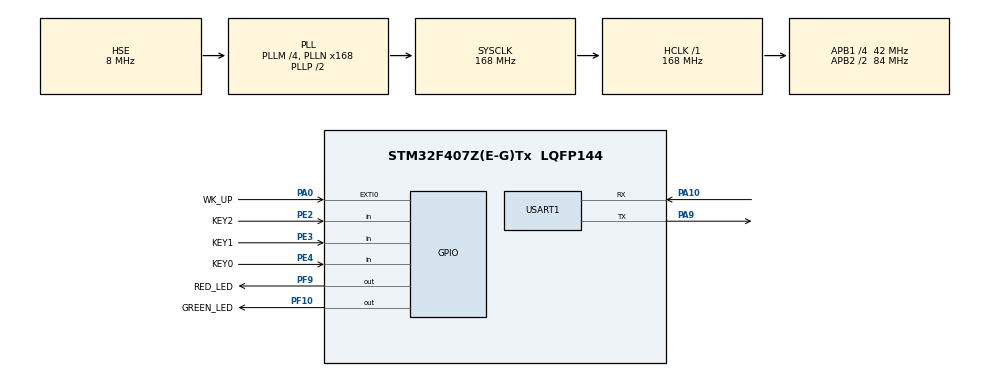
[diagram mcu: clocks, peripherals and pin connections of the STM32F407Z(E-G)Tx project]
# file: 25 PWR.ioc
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Mcu.Family=STM32F4
Mcu.Name=STM32F407Z(E-G)Tx
Mcu.Package=LQFP144
NVIC.EXTI0_IRQn=true\:1\:0\:true\:false\:true\:true\:true\:true
NVIC.PriorityGroup=NVIC_PRIORITYGROUP_2
NVIC.TIM6_DAC_IRQn=true\:1\:1\:true\:false\:true\:true\:true\:true
PA0-WKUP.GPIO_Label=WK_UP
PA0-WKUP.GPIO_ModeDefaultEXTI=GPIO_MODE_IT_FALLING
PA0-WKUP.GPIO_PuPd=GPIO_PULLDOWN
PA0-WKUP.Signal=GPXTI0
PA10.Mode=Asynchronous
PA10.Signal=USART1_RX
PA13.Mode=Serial_Wire
PA13.Signal=SYS_JTMS-SWDIO
PA14.Mode=Serial_Wire
PA14.Signal=SYS_JTCK-SWCLK
PA9.Mode=Asynchronous
PA9.Signal=USART1_TX
PC14-OSC32_IN.Mode=LSE-External-Oscillator
PC14-OSC32_IN.Signal=RCC_OSC32_IN
PC15-OSC32_OUT.Mode=LSE-External-Oscillator
PC15-OSC32_OUT.Signal=RCC_OSC32_OUT
PE2.GPIO_Label=KEY2
PE2.GPIO_PuPd=GPIO_PULLUP
PE2.Signal=GPIO_Input
PE3.GPIO_Label=KEY1
PE3.GPIO_PuPd=GPIO_PULLUP
PE3.Signal=GPIO_Input
PE4.GPIO_Label=KEY0
PE4.GPIO_PuPd=GPIO_PULLUP
PE4.Signal=GPIO_Input
PF10.GPIO_Label=GREEN_LED
PF10.PinState=GPIO_PIN_SET
PF10.Signal=GPIO_Output
PF9.GPIO_Label=RED_LED
PF9.PinState=GPIO_PIN_SET
PF9.Signal=GPIO_Output
PH0-OSC_IN.Mode=HSE-External-Oscillator
PH0-OSC_IN.Signal=RCC_OSC_IN
PH1-OSC_OUT.Mode=HSE-External-Oscillator
PH1-OSC_OUT.Signal=RCC_OSC_OUT
ProjectManager.HeapSize=0x200
ProjectManager.StackSize=0x400
ProjectManager.TargetToolchain=MDK-ARM V5.32
RCC.48MHZClocksFreq_Value=84000000
RCC.AHBFreq_Value=168000000
RCC.APB1CLKDivider=RCC_HCLK_DIV4
RCC.APB1Freq_Value=42000000
RCC.APB1TimFreq_Value=84000000
RCC.APB2CLKDivider=RCC_HCLK_DIV2
RCC.APB2Freq_Value=84000000
RCC.APB2TimFreq_Value=168000000
RCC.CortexFreq_Value=168000000
RCC.HCLKFreq_Value=168000000
RCC.HSE_VALUE=8000000
RCC.HSI_VALUE=16000000
RCC.PLLM=4
RCC.PLLN=168
RCC.PLLSourceVirtual=RCC_PLLSOURCE_HSE
RCC.SYSCLKFreq_VALUE=168000000
RCC.SYSCLKSource=RCC_SYSCLKSOURCE_PLLCLK
RCC.VCOOutputFreq_Value=336000000
TIM6.AutoReloadPreload=TIM_AUTORELOAD_PRELOAD_DISABLE
TIM6.Period=4999
TIM6.Prescaler=8399
USART1.VirtualMode=VM_ASYNC
VP_TIM6_VS_ClockSourceINT.Mode=Enable_Timer
board=custom

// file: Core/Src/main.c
/* USER CODE BEGIN Header */
/**
  ******************************************************************************
  * @file           : main.c
  * @brief          : Main program body
  ******************************************************************************
  * @attention
  *
  * Copyright (c) 2024 STMicroelectronics.
  * All rights reserved.
  *
  * This software is licensed under terms that can be found in the LICENSE file
  * in the root directory of this software component.
  * If no LICENSE file comes with this software, it is provided AS-IS.
  *
  ******************************************************************************
  */
/* USER CODE END Header */
#include "main.h"
#include "tim.h"
#include "usart.h"
#include "gpio.h"

/* USER CODE BEGIN Includes */
#include "stdio.h"
/* USER CODE END Includes */

/* USER CODE BEGIN PTD */
#ifdef __GNUC__
#define PUTCHAR_PROTOTYPE int __io_putchar(int ch)
#else
#define PUTCHAR_PROTOTYPE int fputc(int ch, FILE *f)
#endif
PUTCHAR_PROTOTYPE
{
      HAL_UART_Transmit(&huart1, (uint8_t *)&ch, 1, HAL_MAX_DELAY);
      return ch;
}
/* USER CODE END PTD */

void SystemClock_Config(void);

/* USER CODE BEGIN 0 */
uint8_t mode_flag = 0;
/* USER CODE END 0 */

int main(void)
{

  /* MCU Configuration--------------------------------------------------------*/

  /* Reset of all peripherals, Initializes the Flash interface and the Systick. */
  HAL_Init();

  /* Configure the system clock */
  SystemClock_Config();

  /* Initialize all configured peripherals */
  MX_GPIO_Init();
  MX_USART1_UART_Init();
  MX_TIM6_Init();
  /* USER CODE BEGIN 2 */
	printf("\r\nReset\r\n");
	HAL_TIM_Base_Start_IT(&htim6);
  /* USER CODE END 2 */

  /* Infinite loop */
  while (1)
  {

    /* USER CODE BEGIN 3 */
		/*从待机模式唤醒后手动清除唤醒标志，否则下次进入待机模式将直接唤醒*/
		if(__HAL_PWR_GET_FLAG(PWR_FLAG_WU)==SET)
		{
			__HAL_PWR_CLEAR_FLAG(PWR_FLAG_WU);
		}
		/*从待机模式唤醒后失能唤醒引脚*/
		if(__HAL_PWR_GET_FLAG(PWR_FLAG_SB)==SET)
		{
			HAL_PWR_DisableWakeUpPin(PWR_WAKEUP_PIN1);
			__HAL_PWR_CLEAR_FLAG(PWR_FLAG_SB);
		}

		/*按键KEY2被按下*/
		if(HAL_GPIO_ReadPin(KEY2_GPIO_Port,KEY2_Pin) == GPIO_PIN_RESET)
		{
			HAL_Delay(50);
			if(HAL_GPIO_ReadPin(KEY2_GPIO_Port,KEY2_Pin) == GPIO_PIN_RESET)
			{
				/*进入睡眠模式*/
				mode_flag = 3;
				printf("\r\nKEY2 Pressed，Into Sleep Mode\r\n");
				HAL_SuspendTick();
				HAL_PWR_EnterSLEEPMode(PWR_LOWPOWERREGULATOR_ON,PWR_SLEEPENTRY_WFI);
				while(!HAL_GPIO_ReadPin(KEY2_GPIO_Port,KEY2_Pin));
			}
		}
		/*按键KEY1被按下*/
		if(HAL_GPIO_ReadPin(KEY1_GPIO_Port,KEY1_Pin) == GPIO_PIN_RESET)
		{
			HAL_Delay(50);
			if(HAL_GPIO_ReadPin(KEY1_GPIO_Port,KEY1_Pin) == GPIO_PIN_RESET)
			{
				/*进入停止模式*/
				mode_flag = 2;
				printf("\r\nKEY1 Pressed，Into Stop Mode\r\n");
				HAL_PWREx_EnableFlashPowerDown();
				EXTI->PR = 0;
				HAL_PWR_EnterSTOPMode(PWR_LOWPOWERREGULATOR_ON,PWR_SLEEPENTRY_WFI);
				while(!HAL_GPIO_ReadPin(KEY1_GPIO_Port,KEY1_Pin));
			}
		}
		/*按键KEY0被按下*/
		if(HAL_GPIO_ReadPin(KEY0_GPIO_Port,KEY0_Pin) == GPIO_PIN_RESET)
		{
			HAL_Delay(50);
			if(HAL_GPIO_ReadPin(KEY0_GPIO_Port,KEY0_Pin) == GPIO_PIN_RESET)
			{
				/*进入待机模式*/
				mode_flag = 1;
				printf("\r\nKEY0 Pressed，Into StandBy Mode\r\n");
				HAL_PWR_EnableWakeUpPin(PWR_WAKEUP_PIN1);
				HAL_PWR_EnterSTANDBYMode();
				while(!HAL_GPIO_ReadPin(KEY0_GPIO_Port,KEY0_Pin));
			}
		}

		HAL_Delay(100);
		HAL_GPIO_TogglePin(GREEN_LED_GPIO_Port,GREEN_LED_Pin);
  }
  /* USER CODE END 3 */
}

void SystemClock_Config(void)
{
  RCC_OscInitTypeDef RCC_OscInitStruct = {0};
  RCC_ClkInitTypeDef RCC_ClkInitStruct = {0};

  /** Configure the main internal regulator output voltage
  */
  __HAL_RCC_PWR_CLK_ENABLE();
  __HAL_PWR_VOLTAGESCALING_CONFIG(PWR_REGULATOR_VOLTAGE_SCALE1);

  /** Initializes the RCC Oscillators according to the specified parameters
  * in the RCC_OscInitTypeDef structure.
  */
  RCC_OscInitStruct.OscillatorType = RCC_OSCILLATORTYPE_HSE;
  RCC_OscInitStruct.HSEState = RCC_HSE_ON;
  RCC_OscInitStruct.PLL.PLLState = RCC_PLL_ON;
  RCC_OscInitStruct.PLL.PLLSource = RCC_PLLSOURCE_HSE;
  RCC_OscInitStruct.PLL.PLLM = 4;
  RCC_OscInitStruct.PLL.PLLN = 168;
  RCC_OscInitStruct.PLL.PLLP = RCC_PLLP_DIV2;
  RCC_OscInitStruct.PLL.PLLQ = 4;
  if (HAL_RCC_OscConfig(&RCC_OscInitStruct) != HAL_OK)
  {
    Error_Handler();
  }

  /** Initializes the CPU, AHB and APB buses clocks
  */
  RCC_ClkInitStruct.ClockType = RCC_CLOCKTYPE_HCLK|RCC_CLOCKTYPE_SYSCLK
                              |RCC_CLOCKTYPE_PCLK1|RCC_CLOCKTYPE_PCLK2;
  RCC_ClkInitStruct.SYSCLKSource = RCC_SYSCLKSOURCE_PLLCLK;
  RCC_ClkInitStruct.AHBCLKDivider = RCC_SYSCLK_DIV1;
  RCC_ClkInitStruct.APB1CLKDivider = RCC_HCLK_DIV4;
  RCC_ClkInitStruct.APB2CLKDivider = RCC_HCLK_DIV2;

  if (HAL_RCC_ClockConfig(&RCC_ClkInitStruct, FLASH_LATENCY_5) != HAL_OK)
  {
    Error_Handler();
  }
}

void Error_Handler(void)
{
  __disable_irq();
  while (1)
  {
  }
}
